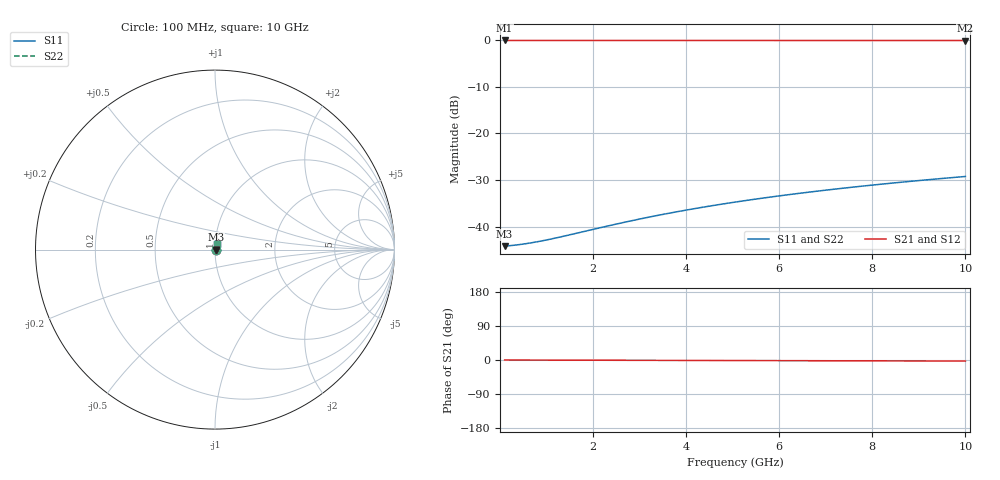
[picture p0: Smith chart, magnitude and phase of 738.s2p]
# Hz S RI R 50.00
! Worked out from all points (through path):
!   100 points, 100 MHz to 10 GHz, reference 50 ohm
!   highest |S21| = -0.05 dB at 100 MHz (marker M1); lowest = -0.1 dB at 10 GHz (marker M2)
!   lowest |S11| = -44.2 dB at 100 MHz (marker M3), VSWR 1.01, Z = 50.6 + j0.0341 ohm
!   |S11| at or under -10 dB: start of sweep to end of sweep
!   |S22| runs from -44.2 to -29.2 dB; largest |S21 - S12| = 0
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1e8  0.00619 0.000337  0.9938 -0.000493  0.9938 -0.000493  0.00619 0.000337
3e8  0.00626 0.00101  0.9937 -0.00148  0.9937 -0.00148  0.00626 0.00101
5e8  0.00631 0.00168  0.9937 -0.00246  0.9937 -0.00246  0.00631 0.00168
8e8  0.00636 0.00269  0.9936 -0.00394  0.9936 -0.00394  0.00636 0.00269
1e9  0.00639 0.00337  0.9936 -0.00493  0.9936 -0.00493  0.00639 0.00337
1.2e9  0.00642 0.00404  0.9936 -0.00591  0.9936 -0.00591  0.00642 0.00404
1.8e9  0.0065 0.00606  0.9935 -0.00887  0.9935 -0.00887  0.0065 0.00606
2.3e9  0.00657 0.00774  0.9934 -0.0113  0.9934 -0.0113  0.00657 0.00774
2.7e9  0.00663 0.00908  0.9934 -0.0133  0.9934 -0.0133  0.00663 0.00908
3.1e9  0.00669 0.0104  0.9933 -0.0153  0.9933 -0.0153  0.00669 0.0104
3.4e9  0.00674 0.0114  0.9932 -0.0167  0.9932 -0.0167  0.00674 0.0114
3.8e9  0.00681 0.0128  0.9932 -0.0187  0.9932 -0.0187  0.00681 0.0128
4.2e9  0.00688 0.0141  0.9931 -0.0207  0.9931 -0.0207  0.00688 0.0141
4.6e9  0.00695 0.0155  0.993 -0.0227  0.993 -0.0227  0.00695 0.0155
5.1e9  0.00705 0.0171  0.9929 -0.0251  0.9929 -0.0251  0.00705 0.0171
5.5e9  0.00714 0.0185  0.9928 -0.0271  0.9928 -0.0271  0.00714 0.0185
5.9e9  0.00723 0.0198  0.9927 -0.029  0.9927 -0.029  0.00723 0.0198
6.7e9  0.00742 0.0225  0.9925 -0.033  0.9925 -0.033  0.00742 0.0225
7.5e9  0.00764 0.0252  0.9923 -0.0369  0.9923 -0.0369  0.00764 0.0252
8.4e9  0.00791 0.0282  0.992 -0.0413  0.992 -0.0413  0.00791 0.0282
9.2e9  0.00817 0.0309  0.9917 -0.0453  0.9917 -0.0453  0.00817 0.0309
1e10  0.00845 0.0336  0.9914 -0.0492  0.9914 -0.0492  0.00845 0.0336
